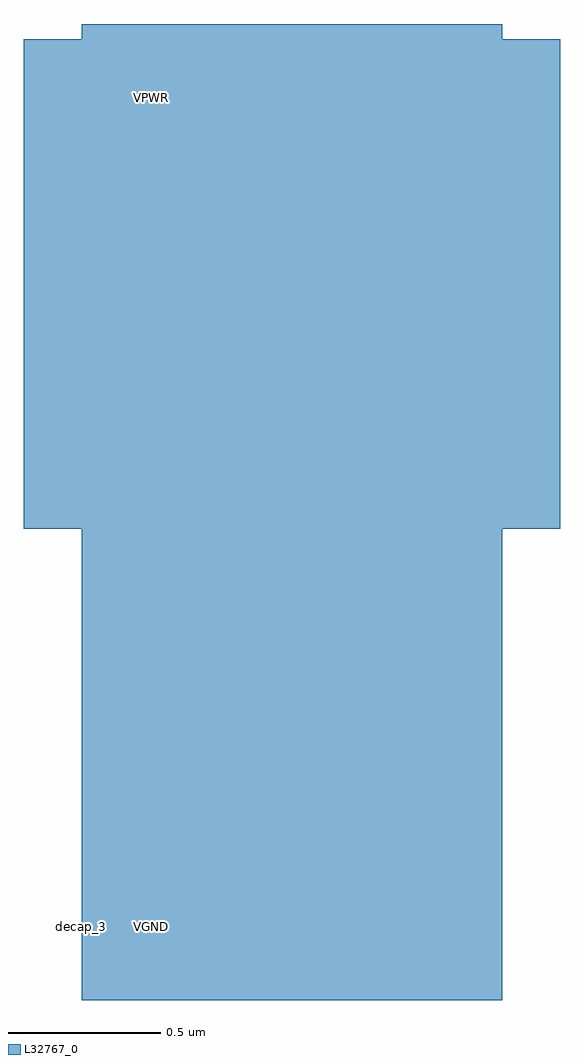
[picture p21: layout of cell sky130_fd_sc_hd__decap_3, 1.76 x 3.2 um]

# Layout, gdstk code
import gdstk
lib = gdstk.Library(unit=1e-6, precision=1e-09)
def R(c, l, rs):  # rectangles x0, y0, x1, y1
    for r in rs: c.add(gdstk.rectangle(r[:2], r[2:], *l))
def A(c, l, x, y, w, h, nx, ny, dx, dy):  # array of equal rectangles
    R(c, l, [(x+i*dx, y+j*dy, x+i*dx+w, y+j*dy+h) for i in range(nx) for j in range(ny)])
def P(c, l, *ps):  # polygons
    for p in ps: c.add(gdstk.Polygon(p, *l))
L32767_0 = (32767, 0)

sky130_fd_sc_hd__decap_3 = lib.new_cell('sky130_fd_sc_hd__decap_3')
A(sky130_fd_sc_hd__decap_3, L32767_0, 0.145, -0.085, 0.17, 0.17, 3, 2, 0.46, 2.72)
R(sky130_fd_sc_hd__decap_3, L32767_0, [(0,-0.19,1.38,1.015), (0.145,-0.085,0.315,0.085), (0.145,-0.085,0.315,0.085), (0,0,1.38,2.72), (0,0,1.38,2.72), (0.135,0.235,1.245,0.785), (0.175,0.4,0.345,0.57), (1.035,0.4,1.205,0.57), (0.875,1.005,1.045,1.175), (0.335,1.205,0.505,1.375), (0,1.25,1.38,2.72), (-0.19,1.305,1.57,2.91), (0,1.485,1.38,2.91), (0.135,1.615,1.245,2.485), (0.175,1.78,0.345,1.95), (1.035,1.78,1.205,1.95), (0.175,2.255,0.345,2.425), (1.035,2.255,1.205,2.425), (0.145,2.635,0.315,2.805), (0.145,2.635,0.315,2.805)])
P(sky130_fd_sc_hd__decap_3, L32767_0, [(1.38,1.345),(0.605,1.345),(0.605,1.475),(0,1.475),(0,0.975),(0.775,0.975),(0.775,0.905),(1.38,0.905)],
  [(1.38,2.805),(0,2.805),(0,2.635),(0.085,2.635),(0.085,1.545),(0.775,1.545),(0.775,1.005),(1.295,1.005),(1.295,2.635),(1.38,2.635)],
  [(1.38,0.085),(1.295,0.085),(1.295,0.835),(0.605,0.835),(0.605,1.375),(0.085,1.375),(0.085,0.085),(0,0.085),(0,-0.085),(1.38,-0.085)],
  [(1.125,1.255),(0.795,1.255),(0.795,0.915),(0.395,0.915),(0.395,0.105),(0.985,0.105),(0.985,0.925),(1.125,0.925)],
  [(0.985,2.615),(0.395,2.615),(0.395,1.455),(0.255,1.455),(0.255,1.125),(0.585,1.125),(0.585,1.465),(0.985,1.465)])
sky130_fd_sc_hd__decap_3.add(gdstk.FlexPath([(0,2.72),(1.38,2.72)], 0.48, ends="flush", simple_path=True, layer=32767, datatype=0))  # L32767_0
sky130_fd_sc_hd__decap_3.add(gdstk.FlexPath([(0,0),(1.38,0)], 0.48, ends="flush", simple_path=True, layer=32767, datatype=0))  # L32767_0
sky130_fd_sc_hd__decap_3.add(gdstk.Label('VPWR', (0.23,2.72), layer=32767, texttype=5))
sky130_fd_sc_hd__decap_3.add(gdstk.Label('VGND', (0.23,0), layer=32767, texttype=5))
sky130_fd_sc_hd__decap_3.add(gdstk.Label('VPB', (0.23,2.72), layer=32767, texttype=5))
sky130_fd_sc_hd__decap_3.add(gdstk.Label('VNB', (0.23,0), layer=32767, texttype=59))
sky130_fd_sc_hd__decap_3.add(gdstk.Label('decap_3', (0,0), layer=32767, texttype=44))

lib.write_gds('sky130_fd_sc_hd__decap_3.gds')
